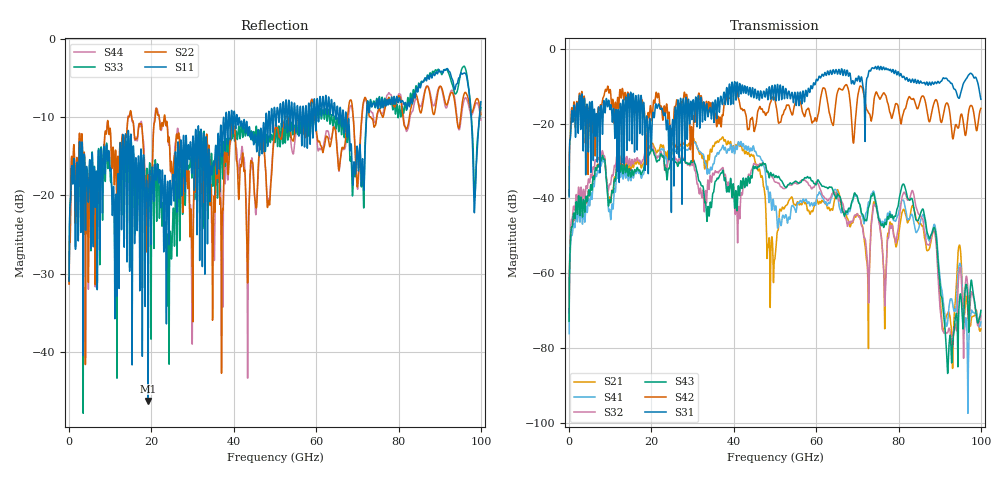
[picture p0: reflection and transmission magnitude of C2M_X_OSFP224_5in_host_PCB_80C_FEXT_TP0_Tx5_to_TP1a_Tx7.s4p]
# GHz S RI R 45
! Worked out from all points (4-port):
!   4000 points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, 25 MHz to 100 GHz, reference 45 ohm
!   strongest paths, dB at 25 MHz, 25.02 GHz, 50.02 GHz, 75.03 GHz, 100 GHz:
!     S31: -39.6, -21.5, -9.9, -4.7, -13.5
!     S42: -39.3, -21.6, -13.7, -12.5, -15.9
!     S43: -72.8, -29.8, -34.4, -44.6, -70.0
!     S32: -70.6, -27.9, -35.6, -45.0, -71.3
!     S41: -76.2, -27.3, -42.8, -44.0, -73.0
!     S21: -73.0, -25.5, -55.9, -44.4, -74.9
!   lowest |S11| = -46.2 dB at 19.23 GHz (marker M1), VSWR 1.01, Z = 45.4 - j0.195 ohm
!   |S11| at or under -10 dB: start of sweep to 38.08 GHz; 40.82 GHz to 47.79 GHz (6.967 GHz wide, 15.7 % of centre); 67.3 GHz to 72.22 GHz (4.92 GHz wide, 7.05 % of centre) (the widest 3 of 31)
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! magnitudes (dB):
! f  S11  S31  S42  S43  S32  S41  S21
! 25 MHz  -30.9  -39.6  -39.3  -72.8  -70.6  -76.2  -73.0
! 7.9 GHz  -15.2  -15.8  -15.2  -29.5  -28.0  -30.8  -29.6
! 19.23 GHz  -46.2  -32.9  -17.1  -28.4  -26.5  -28.6  -26.7
! 76.65 GHz  -7.8  -5.6  -12.1  -46.8  -68.3  -46.0  -74.9
! 81.22 GHz  -8.2  -7.4  -17.0  -36.2  -38.5  -40.6  -42.9
! 91.88 GHz  -3.8  -8.3  -14.6  -86.0  -76.0  -73.6  -70.9
! 100 GHz  -8.1  -13.5  -15.9  -70.0  -71.3  -73.0  -74.9
